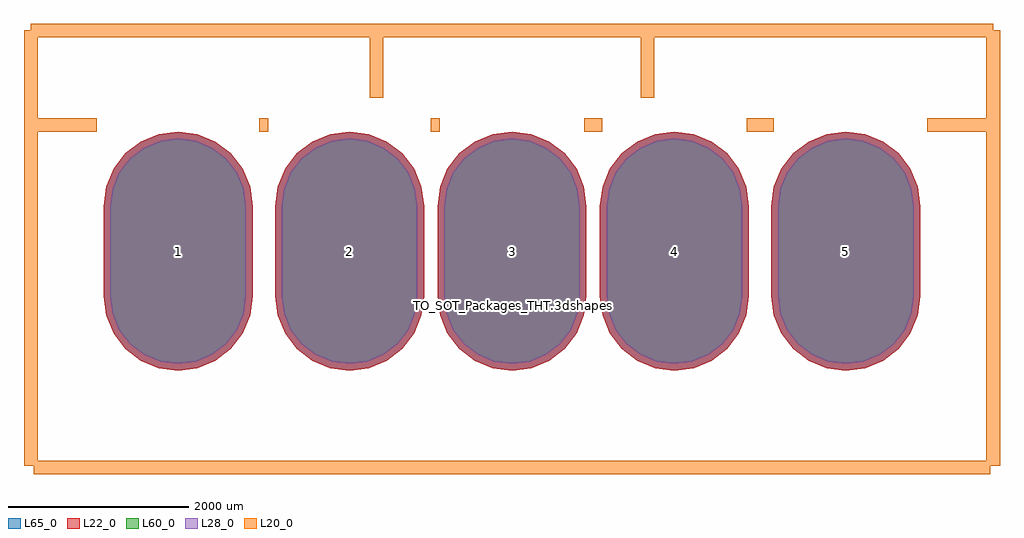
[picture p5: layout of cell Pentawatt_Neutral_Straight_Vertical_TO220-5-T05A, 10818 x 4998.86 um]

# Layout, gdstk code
import gdstk
lib = gdstk.Library(unit=1e-6, precision=1e-09)
def P(c, l, *ps):  # polygons
    for p in ps: c.add(gdstk.Polygon(p, *l))
L20_0 = (20, 0)
L22_0 = (22, 0)
L28_0 = (28, 0)
L60_0 = (60, 0)
L65_0 = (65, 0)

pentawatt_neutral_straig = lib.new_cell('Pentawatt_Neutral_Straight_Vertical_TO220-5-T05A')
P(pentawatt_neutral_straig, L22_0, [(-1800.86,-725.24),(-1587.187,-697.109),(-1388.075,-614.635),(-1217.094,-483.436),(-1085.895,-312.455),(-1003.421,-113.343),(-975.29,100.33),(-975.29,1098.55),(-1003.421,1312.223),(-1085.895,1511.335),(-1217.094,1682.316),(-1388.075,1813.515),(-1587.187,1895.989),(-1800.86,1924.12),(-2014.533,1895.989),(-2213.645,1813.515),(-2384.626,1682.316),(-2515.825,1511.335),(-2598.299,1312.223),(-2626.43,1098.55),(-2626.43,100.33),(-2598.299,-113.343),(-2515.825,-312.455),(-2384.626,-483.436),(-2213.645,-614.635),(-2014.533,-697.109)],
  [(1800.86,-725.24),(2014.533,-697.109),(2213.645,-614.635),(2384.626,-483.436),(2515.825,-312.455),(2598.299,-113.343),(2626.43,100.33),(2626.43,1098.55),(2598.299,1312.223),(2515.825,1511.335),(2384.626,1682.316),(2213.645,1813.515),(2014.533,1895.989),(1800.86,1924.12),(1587.187,1895.989),(1388.075,1813.515),(1217.094,1682.316),(1085.895,1511.335),(1003.421,1312.223),(975.29,1098.55),(975.29,100.33),(1003.421,-113.343),(1085.895,-312.455),(1217.094,-483.436),(1388.075,-614.635),(1587.187,-697.109)],
  [(3700.78,-725.24),(3914.453,-697.109),(4113.565,-614.635),(4284.546,-483.436),(4415.745,-312.455),(4498.219,-113.343),(4526.35,100.33),(4526.35,1098.55),(4498.219,1312.223),(4415.745,1511.335),(4284.546,1682.316),(4113.565,1813.515),(3914.453,1895.989),(3700.78,1924.12),(3487.107,1895.989),(3287.995,1813.515),(3117.014,1682.316),(2985.815,1511.335),(2903.341,1312.223),(2875.21,1098.55),(2875.21,100.33),(2903.341,-113.343),(2985.815,-312.455),(3117.014,-483.436),(3287.995,-614.635),(3487.107,-697.109)],
  [(-3700.78,-725.24),(-3487.107,-697.109),(-3287.995,-614.635),(-3117.014,-483.436),(-2985.815,-312.455),(-2903.341,-113.343),(-2875.21,100.33),(-2875.21,1098.55),(-2903.341,1312.223),(-2985.815,1511.335),(-3117.014,1682.316),(-3287.995,1813.515),(-3487.107,1895.989),(-3700.78,1924.12),(-3914.453,1895.989),(-4113.565,1813.515),(-4284.546,1682.316),(-4415.745,1511.335),(-4498.219,1312.223),(-4526.35,1098.55),(-4526.35,100.33),(-4498.219,-113.343),(-4415.745,-312.455),(-4284.546,-483.436),(-4113.565,-614.635),(-3914.453,-697.109)],
  [(0,-725.24),(213.673,-697.109),(412.785,-614.635),(583.766,-483.436),(714.965,-312.455),(797.439,-113.343),(825.57,100.33),(825.57,1098.55),(797.439,1312.223),(714.965,1511.335),(583.766,1682.316),(412.785,1813.515),(213.673,1895.989),(0,1924.12),(-213.673,1895.989),(-412.785,1813.515),(-583.766,1682.316),(-714.965,1511.335),(-797.439,1312.223),(-825.57,1098.55),(-825.57,100.33),(-797.439,-113.343),(-714.965,-312.455),(-583.766,-483.436),(-412.785,-614.635),(-213.673,-697.109)])
P(pentawatt_neutral_straig, L28_0, [(-1800.86,-650.24),(-1606.598,-624.665),(-1425.575,-549.683),(-1270.127,-430.403),(-1150.847,-274.955),(-1075.865,-93.932),(-1050.29,100.33),(-1050.29,1098.55),(-1075.865,1292.812),(-1150.847,1473.835),(-1270.127,1629.283),(-1425.575,1748.563),(-1606.598,1823.545),(-1800.86,1849.12),(-1995.122,1823.545),(-2176.145,1748.563),(-2331.593,1629.283),(-2450.873,1473.835),(-2525.855,1292.812),(-2551.43,1098.55),(-2551.43,100.33),(-2525.855,-93.932),(-2450.873,-274.955),(-2331.593,-430.403),(-2176.145,-549.683),(-1995.122,-624.665)],
  [(1800.86,-650.24),(1995.122,-624.665),(2176.145,-549.683),(2331.593,-430.403),(2450.873,-274.955),(2525.855,-93.932),(2551.43,100.33),(2551.43,1098.55),(2525.855,1292.812),(2450.873,1473.835),(2331.593,1629.283),(2176.145,1748.563),(1995.122,1823.545),(1800.86,1849.12),(1606.598,1823.545),(1425.575,1748.563),(1270.127,1629.283),(1150.847,1473.835),(1075.865,1292.812),(1050.29,1098.55),(1050.29,100.33),(1075.865,-93.932),(1150.847,-274.955),(1270.127,-430.403),(1425.575,-549.683),(1606.598,-624.665)],
  [(3700.78,-650.24),(3895.042,-624.665),(4076.065,-549.683),(4231.513,-430.403),(4350.793,-274.955),(4425.775,-93.932),(4451.35,100.33),(4451.35,1098.55),(4425.775,1292.812),(4350.793,1473.835),(4231.513,1629.283),(4076.065,1748.563),(3895.042,1823.545),(3700.78,1849.12),(3506.518,1823.545),(3325.495,1748.563),(3170.047,1629.283),(3050.767,1473.835),(2975.785,1292.812),(2950.21,1098.55),(2950.21,100.33),(2975.785,-93.932),(3050.767,-274.955),(3170.047,-430.403),(3325.495,-549.683),(3506.518,-624.665)],
  [(-3700.78,-650.24),(-3506.518,-624.665),(-3325.495,-549.683),(-3170.047,-430.403),(-3050.767,-274.955),(-2975.785,-93.932),(-2950.21,100.33),(-2950.21,1098.55),(-2975.785,1292.812),(-3050.767,1473.835),(-3170.047,1629.283),(-3325.495,1748.563),(-3506.518,1823.545),(-3700.78,1849.12),(-3895.042,1823.545),(-4076.065,1748.563),(-4231.513,1629.283),(-4350.793,1473.835),(-4425.775,1292.812),(-4451.35,1098.55),(-4451.35,100.33),(-4425.775,-93.932),(-4350.793,-274.955),(-4231.513,-430.403),(-4076.065,-549.683),(-3895.042,-624.665)],
  [(0,-650.24),(194.262,-624.665),(375.285,-549.683),(530.733,-430.403),(650.013,-274.955),(724.995,-93.932),(750.57,100.33),(750.57,1098.55),(724.995,1292.812),(650.013,1473.835),(530.733,1629.283),(375.285,1748.563),(194.262,1823.545),(0,1849.12),(-194.262,1823.545),(-375.285,1748.563),(-530.733,1629.283),(-650.013,1473.835),(-724.995,1292.812),(-750.57,1098.55),(-750.57,100.33),(-724.995,-93.932),(-650.013,-274.955),(-530.733,-430.403),(-375.285,-549.683),(-194.262,-624.665)])
P(pentawatt_neutral_straig, L60_0, [(-1800.86,-650.24),(-1606.598,-624.665),(-1425.575,-549.683),(-1270.127,-430.403),(-1150.847,-274.955),(-1075.865,-93.932),(-1050.29,100.33),(-1050.29,1098.55),(-1075.865,1292.812),(-1150.847,1473.835),(-1270.127,1629.283),(-1425.575,1748.563),(-1606.598,1823.545),(-1800.86,1849.12),(-1995.122,1823.545),(-2176.145,1748.563),(-2331.593,1629.283),(-2450.873,1473.835),(-2525.855,1292.812),(-2551.43,1098.55),(-2551.43,100.33),(-2525.855,-93.932),(-2450.873,-274.955),(-2331.593,-430.403),(-2176.145,-549.683),(-1995.122,-624.665)],
  [(1800.86,-650.24),(1995.122,-624.665),(2176.145,-549.683),(2331.593,-430.403),(2450.873,-274.955),(2525.855,-93.932),(2551.43,100.33),(2551.43,1098.55),(2525.855,1292.812),(2450.873,1473.835),(2331.593,1629.283),(2176.145,1748.563),(1995.122,1823.545),(1800.86,1849.12),(1606.598,1823.545),(1425.575,1748.563),(1270.127,1629.283),(1150.847,1473.835),(1075.865,1292.812),(1050.29,1098.55),(1050.29,100.33),(1075.865,-93.932),(1150.847,-274.955),(1270.127,-430.403),(1425.575,-549.683),(1606.598,-624.665)],
  [(3700.78,-650.24),(3895.042,-624.665),(4076.065,-549.683),(4231.513,-430.403),(4350.793,-274.955),(4425.775,-93.932),(4451.35,100.33),(4451.35,1098.55),(4425.775,1292.812),(4350.793,1473.835),(4231.513,1629.283),(4076.065,1748.563),(3895.042,1823.545),(3700.78,1849.12),(3506.518,1823.545),(3325.495,1748.563),(3170.047,1629.283),(3050.767,1473.835),(2975.785,1292.812),(2950.21,1098.55),(2950.21,100.33),(2975.785,-93.932),(3050.767,-274.955),(3170.047,-430.403),(3325.495,-549.683),(3506.518,-624.665)],
  [(-3700.78,-650.24),(-3506.518,-624.665),(-3325.495,-549.683),(-3170.047,-430.403),(-3050.767,-274.955),(-2975.785,-93.932),(-2950.21,100.33),(-2950.21,1098.55),(-2975.785,1292.812),(-3050.767,1473.835),(-3170.047,1629.283),(-3325.495,1748.563),(-3506.518,1823.545),(-3700.78,1849.12),(-3895.042,1823.545),(-4076.065,1748.563),(-4231.513,1629.283),(-4350.793,1473.835),(-4425.775,1292.812),(-4451.35,1098.55),(-4451.35,100.33),(-4425.775,-93.932),(-4350.793,-274.955),(-4231.513,-430.403),(-4076.065,-549.683),(-3895.042,-624.665)],
  [(0,-650.24),(194.262,-624.665),(375.285,-549.683),(530.733,-430.403),(650.013,-274.955),(724.995,-93.932),(750.57,100.33),(750.57,1098.55),(724.995,1292.812),(650.013,1473.835),(530.733,1629.283),(375.285,1748.563),(194.262,1823.545),(0,1849.12),(-194.262,1823.545),(-375.285,1748.563),(-530.733,1629.283),(-650.013,1473.835),(-724.995,1292.812),(-750.57,1098.55),(-750.57,100.33),(-724.995,-93.932),(-650.013,-274.955),(-530.733,-430.403),(-375.285,-549.683),(-194.262,-624.665)])
P(pentawatt_neutral_straig, L65_0, [(-1800.86,-725.24),(-1587.187,-697.109),(-1388.075,-614.635),(-1217.094,-483.436),(-1085.895,-312.455),(-1003.421,-113.343),(-975.29,100.33),(-975.29,1098.55),(-1003.421,1312.223),(-1085.895,1511.335),(-1217.094,1682.316),(-1388.075,1813.515),(-1587.187,1895.989),(-1800.86,1924.12),(-2014.533,1895.989),(-2213.645,1813.515),(-2384.626,1682.316),(-2515.825,1511.335),(-2598.299,1312.223),(-2626.43,1098.55),(-2626.43,100.33),(-2598.299,-113.343),(-2515.825,-312.455),(-2384.626,-483.436),(-2213.645,-614.635),(-2014.533,-697.109)],
  [(1800.86,-725.24),(2014.533,-697.109),(2213.645,-614.635),(2384.626,-483.436),(2515.825,-312.455),(2598.299,-113.343),(2626.43,100.33),(2626.43,1098.55),(2598.299,1312.223),(2515.825,1511.335),(2384.626,1682.316),(2213.645,1813.515),(2014.533,1895.989),(1800.86,1924.12),(1587.187,1895.989),(1388.075,1813.515),(1217.094,1682.316),(1085.895,1511.335),(1003.421,1312.223),(975.29,1098.55),(975.29,100.33),(1003.421,-113.343),(1085.895,-312.455),(1217.094,-483.436),(1388.075,-614.635),(1587.187,-697.109)],
  [(3700.78,-725.24),(3914.453,-697.109),(4113.565,-614.635),(4284.546,-483.436),(4415.745,-312.455),(4498.219,-113.343),(4526.35,100.33),(4526.35,1098.55),(4498.219,1312.223),(4415.745,1511.335),(4284.546,1682.316),(4113.565,1813.515),(3914.453,1895.989),(3700.78,1924.12),(3487.107,1895.989),(3287.995,1813.515),(3117.014,1682.316),(2985.815,1511.335),(2903.341,1312.223),(2875.21,1098.55),(2875.21,100.33),(2903.341,-113.343),(2985.815,-312.455),(3117.014,-483.436),(3287.995,-614.635),(3487.107,-697.109)],
  [(-3700.78,-725.24),(-3487.107,-697.109),(-3287.995,-614.635),(-3117.014,-483.436),(-2985.815,-312.455),(-2903.341,-113.343),(-2875.21,100.33),(-2875.21,1098.55),(-2903.341,1312.223),(-2985.815,1511.335),(-3117.014,1682.316),(-3287.995,1813.515),(-3487.107,1895.989),(-3700.78,1924.12),(-3914.453,1895.989),(-4113.565,1813.515),(-4284.546,1682.316),(-4415.745,1511.335),(-4498.219,1312.223),(-4526.35,1098.55),(-4526.35,100.33),(-4498.219,-113.343),(-4415.745,-312.455),(-4284.546,-483.436),(-4113.565,-614.635),(-3914.453,-697.109)],
  [(0,-725.24),(213.673,-697.109),(412.785,-614.635),(583.766,-483.436),(714.965,-312.455),(797.439,-113.343),(825.57,100.33),(825.57,1098.55),(797.439,1312.223),(714.965,1511.335),(583.766,1682.316),(412.785,1813.515),(213.673,1895.989),(0,1924.12),(-213.673,1895.989),(-412.785,1813.515),(-583.766,1682.316),(-714.965,1511.335),(-797.439,1312.223),(-825.57,1098.55),(-825.57,100.33),(-797.439,-113.343),(-714.965,-312.455),(-583.766,-483.436),(-412.785,-614.635),(-213.673,-697.109)])
pentawatt_neutral_straig.add(gdstk.FlexPath([(0,3048),(5334,3048)], 149.998, ends="flush", simple_path=True, layer=20, datatype=0))  # L20_0
pentawatt_neutral_straig.add(gdstk.FlexPath([(0,3048),(-5334,3048)], 149.998, ends="flush", simple_path=True, layer=20, datatype=0))  # L20_0
pentawatt_neutral_straig.add(gdstk.FlexPath([(-5334,1905),(-5334,3048)], 149.998, ends="flush", simple_path=True, layer=20, datatype=0))  # L20_0
pentawatt_neutral_straig.add(gdstk.FlexPath([(5334,3048),(5334,1905)], 149.998, ends="flush", simple_path=True, layer=20, datatype=0))  # L20_0
pentawatt_neutral_straig.add(gdstk.FlexPath([(-5334,-1778),(-5334,1905)], 149.998, ends="flush", simple_path=True, layer=20, datatype=0))  # L20_0
pentawatt_neutral_straig.add(gdstk.FlexPath([(5334,1905),(5334,-1778)], 149.998, ends="flush", simple_path=True, layer=20, datatype=0))  # L20_0
pentawatt_neutral_straig.add(gdstk.FlexPath([(-5300.98,-1800.86),(5300.98,-1800.86)], 149.998, ends="flush", simple_path=True, layer=20, datatype=0))  # L20_0
pentawatt_neutral_straig.add(gdstk.FlexPath([(-1501.14,2999.74),(-1501.14,2301.24)], 149.998, ends="flush", simple_path=True, layer=20, datatype=0))  # L20_0
pentawatt_neutral_straig.add(gdstk.FlexPath([(1501.14,2999.74),(1501.14,2301.24)], 149.998, ends="flush", simple_path=True, layer=20, datatype=0))  # L20_0
pentawatt_neutral_straig.add(gdstk.FlexPath([(-5300.98,1998.98),(-4599.94,1998.98)], 149.998, ends="flush", simple_path=True, layer=20, datatype=0))  # L20_0
pentawatt_neutral_straig.add(gdstk.FlexPath([(-2799.08,1998.98),(-2700.02,1998.98)], 149.998, ends="flush", simple_path=True, layer=20, datatype=0))  # L20_0
pentawatt_neutral_straig.add(gdstk.FlexPath([(-899.16,1998.98),(-800.1,1998.98)], 149.998, ends="flush", simple_path=True, layer=20, datatype=0))  # L20_0
pentawatt_neutral_straig.add(gdstk.FlexPath([(800.1,1998.98),(1000.76,1998.98)], 149.998, ends="flush", simple_path=True, layer=20, datatype=0))  # L20_0
pentawatt_neutral_straig.add(gdstk.FlexPath([(2600.96,1998.98),(2900.68,1998.98)], 149.998, ends="flush", simple_path=True, layer=20, datatype=0))  # L20_0
pentawatt_neutral_straig.add(gdstk.FlexPath([(4599.94,1998.98),(5300.98,1998.98)], 149.998, ends="flush", simple_path=True, layer=20, datatype=0))  # L20_0
pentawatt_neutral_straig.add(gdstk.Label('TO_SOT_Packages_THT.3dshapes/Pentawatt_Neutral_Straight_Vertical_TO220-5-T05A.wrl', (0,0), layer=12, texttype=0))
pentawatt_neutral_straig.add(gdstk.Label('2', (-1800.86,599.44), layer=28, texttype=0))
pentawatt_neutral_straig.add(gdstk.Label('4', (1800.86,599.44), layer=28, texttype=0))
pentawatt_neutral_straig.add(gdstk.Label('5', (3700.78,599.44), layer=28, texttype=0))
pentawatt_neutral_straig.add(gdstk.Label('1', (-3700.78,599.44), layer=28, texttype=0))
pentawatt_neutral_straig.add(gdstk.Label('3', (0,599.44), layer=28, texttype=0))
pentawatt_neutral_straig.add(gdstk.Label('1', (-6350,-3810), layer=9, texttype=0))
pentawatt_neutral_straig.add(gdstk.Label('type', (1270,-7620), layer=9, texttype=0))
pentawatt_neutral_straig.add(gdstk.Label('devicename', (0,5080), layer=9, texttype=0))

lib.write_gds('Pentawatt_Neutral_Straight_Vertical_TO220-5-T05A.gds')
